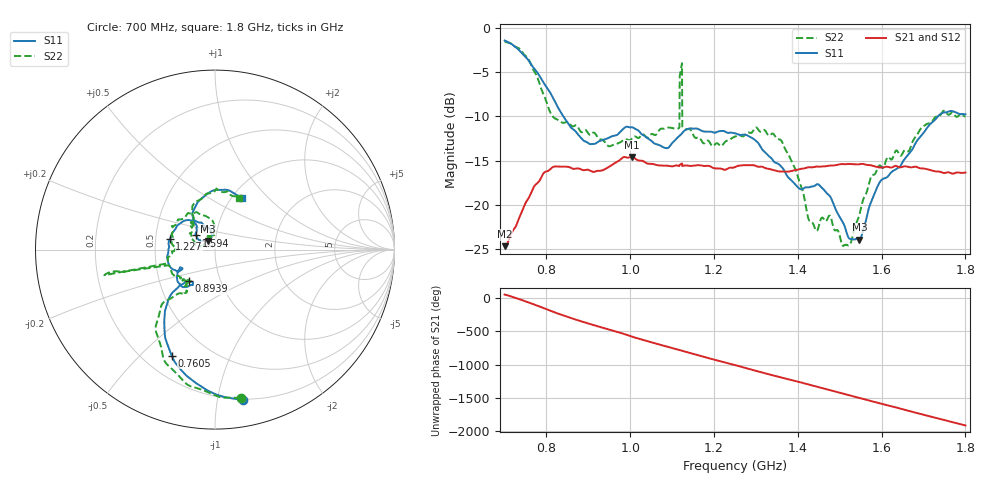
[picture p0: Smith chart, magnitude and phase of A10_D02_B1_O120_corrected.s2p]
! Created with skrf 1.9.0 (http://scikit-rf.org).
# Hz S RI R 50.0
!freq ReS11 ImS11 ReS21 ImS21 ReS12 ImS12 ReS22 ImS22
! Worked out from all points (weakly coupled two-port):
!   1601 points, 700 MHz to 1.8 GHz, reference 50 ohm
!   highest |S21| = -14.57 dB at 1.005 GHz (marker M1); lowest = -24.7 dB at 700 MHz (marker M2)
!   lowest |S11| = -24.0 dB at 1.547 GHz (marker M3), VSWR 1.14, Z = 45.8 + j4.42 ohm
!   |S11| at or under -10 dB: 840.3 MHz to 1.734 GHz (893.9 MHz wide, 69.4 % of centre)
!   |S22| runs from -24.7 to -1.5 dB; largest |S21 - S12| = 0.0035
!   S11 on the Smith chart (normalised r, x): 700 MHz: 0.20, -1.19; 760.5 MHz: 0.31, -0.62; 893.9 MHz: 0.71, -0.26; 1.227 GHz: 0.59, +0.07; 1.594 GHz: 0.80, +0.13; 1.8 GHz: 1.12, +0.72
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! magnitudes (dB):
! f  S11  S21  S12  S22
! 700 MHz  -1.4  -24.7  -24.5  -1.5
! 760.5 MHz  -3.9  -19.0  -18.8  -3.9
! 814.1 MHz  -7.8  -15.8  -15.8  -10.0
! 883.6 MHz  -12.5  -16.0  -15.9  -11.8
! 893.9 MHz  -12.8  -16.1  -16.1  -11.6
! 1.005 GHz  -11.2  -14.6  -14.7  -12.5
! 1.067 GHz  -13.2  -15.5  -15.5  -11.7
! 1.112 GHz  -12.4  -15.6  -15.7  -11.4
! 1.118 GHz  -12.2  -15.5  -15.4  -5.5
! 1.123 GHz  -11.9  -15.3  -15.2  -4.0
! 1.13 GHz  -11.6  -15.6  -15.6  -11.3
! 1.227 GHz  -11.7  -16.0  -15.9  -12.8
! 1.25 GHz  -11.9  -15.7  -15.7  -12.3
! 1.359 GHz  -15.6  -16.2  -16.2  -12.7
! 1.434 GHz  -17.9  -15.8  -15.7  -22.0
! 1.476 GHz  -19.0  -15.6  -15.6  -21.2
! 1.52 GHz  -23.6  -15.4  -15.4  -24.6
! 1.547 GHz  -24.0  -15.4  -15.4  -21.1
! 1.594 GHz  -17.6  -15.8  -15.7  -15.6
! 1.617 GHz  -16.7  -15.7  -15.7  -14.6
! 1.739 GHz  -9.8  -16.3  -16.3  -10.0
! 1.8 GHz  -9.8  -16.4  -16.3  -10.0
